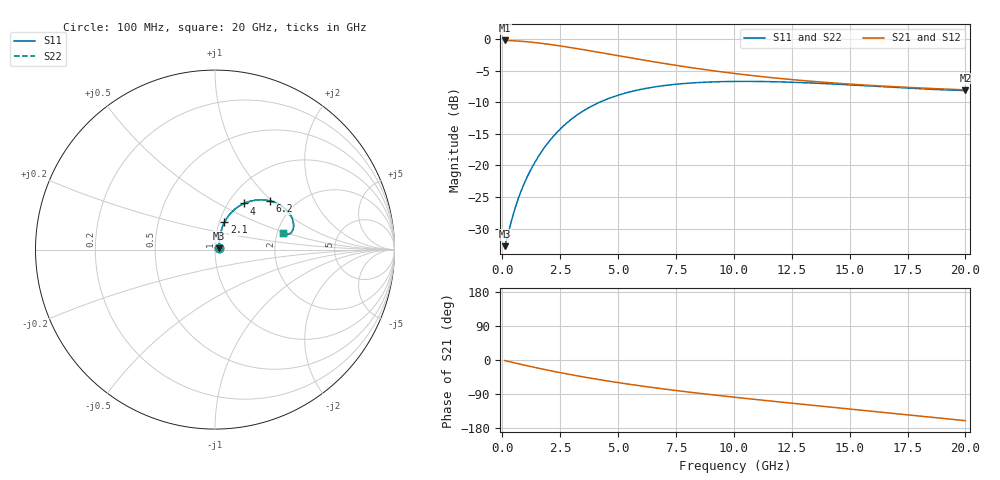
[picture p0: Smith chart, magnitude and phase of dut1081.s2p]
! Touchstone file exported from HFSS 2024.1.0
!  File:  C:/UserFiles/LocalFiles/RDL_TSV_Batchsim/temp_RDL_TSV_1081_1780095699.aedt
!  Generated:  07:13:38 AM May 30, 2026
!  Design:  RDL_TSV
!  Project:  temp_RDL_TSV_1081_1780095699
!  Setup:  Setup1
!  Solution:  Sweep
! Variables:
!  dtsv = 9.13um
!  hbump = 3um
!  htsv = 52.49um
!  ldown = 194.16um
!  lrdl = 444.12um
!  p = 40
!  p1 = 53.73um
!  rhole = 10um
!  subl = 2358.96um
!  t = 450um
!  tdown = 3.65um
!  trdl = 2.99um
!  viad = 10um
!  wdown = 10.66um
!  wrdl = 12.79um
!  xbump = 18um
# GHz S MA R 50.000000
! Terminal data exported
! Port[1] = TM1_1_T1
! Port[2] = TM1_4_T1
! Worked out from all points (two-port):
!   200 points, 100 MHz to 20 GHz, reference 50 ohm
!   highest |S21| = -0.19 dB at 100 MHz (marker M1); lowest = -8.0 dB at 20 GHz (marker M2)
!   |S21| within 3 dB of the highest: start of sweep to 5.928 GHz
!   lowest |S11| = -32.8 dB at 100 MHz (marker M3), VSWR 1.05, Z = 52.2 + j0.754 ohm
!   |S11| at or under -10 dB: start of sweep to 4.192 GHz
!   |S22| runs from -32.8 to -6.7 dB; largest |S21 - S12| = 7.8e-15
!   S11 on the Smith chart (normalised r, x): 100 MHz: 1.04, +0.02; 2.1 GHz: 1.06, +0.33; 4 GHz: 1.18, +0.67; 6.2 GHz: 1.49, +0.97; 20 GHz: 2.15, +0.48
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0.1  0.02294 18.3  0.978 -1.5  0.978 -1.5  0.02294 18.3
! Gamma 0 0 0 0
! Port Impedance 50 0 50 0
0.2  0.02635 33.0  0.9772 -2.9  0.9772 -2.9  0.02635 33.0
0.5  0.04254 56.1  0.9722 -7.2  0.9722 -7.2  0.04254 56.1
0.7  0.05521 63.0  0.9673 -10.0  0.9673 -10.0  0.05521 63.0
0.9  0.06869 67.1  0.9612 -12.8  0.9612 -12.8  0.06869 67.1
1.1  0.0829 69.7  0.9541 -15.6  0.9541 -15.6  0.08291 69.7
1.4  0.1054 71.5  0.9418 -19.6  0.9418 -19.6  0.1054 71.5
1.7  0.1291 71.9  0.9278 -23.5  0.9278 -23.5  0.1291 71.9
2.1  0.1616 70.9  0.9072 -28.5  0.9072 -28.5  0.1616 70.9
2.8  0.2182 66.9  0.868 -36.9  0.868 -36.9  0.2182 66.9
3.5  0.2707 61.7  0.827 -44.7  0.827 -44.7  0.2708 61.7
4  0.3043 57.7  0.7977 -49.9  0.7977 -49.9  0.3043 57.7
5  0.3601 50.0  0.741 -59.6  0.741 -59.6  0.3601 50.0
6.2  0.4078 41.8  0.6791 -70.2  0.6791 -70.2  0.4078 41.8
6.8  0.4249 38.1  0.6511 -75.1  0.6511 -75.1  0.4249 38.1
8.4  0.4532 29.8  0.5868 -87.1  0.5868 -87.1  0.4531 29.8
10.1  0.4633 23.0  0.5334 -98.8  0.5334 -98.8  0.4633 23.0
11.7  0.4607 18.3  0.4948 -109.0  0.4948 -109.0  0.4607 18.3
13.4  0.4498 14.7  0.4636 -119.5  0.4636 -119.5  0.4497 14.7
16.7  0.4178 11.7  0.4228 -139.6  0.4228 -139.6  0.4176 11.7
18.4  0.4022 12.3  0.4083 -150.1  0.4083 -150.1  0.4019 12.3
20  0.3921 14.0  0.397 -160.1  0.397 -160.1  0.3918 14.0
